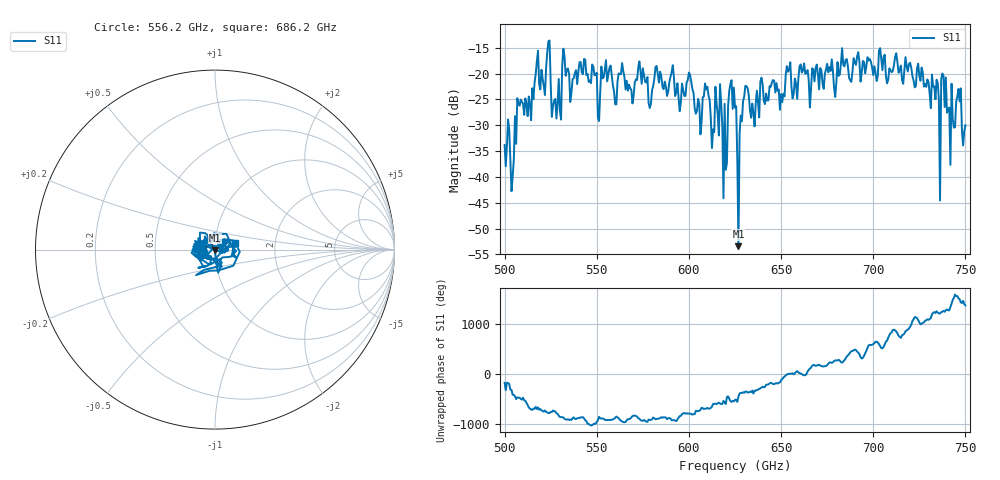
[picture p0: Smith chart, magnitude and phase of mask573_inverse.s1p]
!Created with skrf (http://scikit-rf.org).
# GHz S MA R 50.0
!freq magS11 angS11
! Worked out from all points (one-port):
!   401 points, 500 GHz to 750 GHz, reference 50 ohm
!   lowest |S11| = -53.4 dB at 626.9 GHz (marker M1), VSWR 1.00, Z = 50 - j0.213 ohm
!   |S11| at or under -10 dB: start of sweep to end of sweep
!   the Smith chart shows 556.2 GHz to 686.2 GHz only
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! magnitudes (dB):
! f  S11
! 500 GHz  -33.8
! 504.4 GHz  -40.0
! 508.1 GHz  -26.2
! 513.1 GHz  -24.4
! 517.5 GHz  -17.6
! 523.8 GHz  -13.7
! 526.9 GHz  -25.3
! 531.2 GHz  -18.6
! 562.5 GHz  -20.1
! 593.8 GHz  -21.9
! 610 GHz  -22.5
! 612.5 GHz  -34.4
! 616.2 GHz  -32.0
! 619.4 GHz  -25.8
! 622.5 GHz  -22.0
! 625 GHz  -26.6
! 626.9 GHz  -53.4
! 630.6 GHz  -22.3
! 634.4 GHz  -25.8
! 656.2 GHz  -24.8
! 687.5 GHz  -21.3
! 718.8 GHz  -19.6
! 733.8 GHz  -24.9
! 735 GHz  -21.8
! 738.1 GHz  -20.4
! 743.1 GHz  -28.8
! 746.2 GHz  -23.0
! 750 GHz  -30.0
